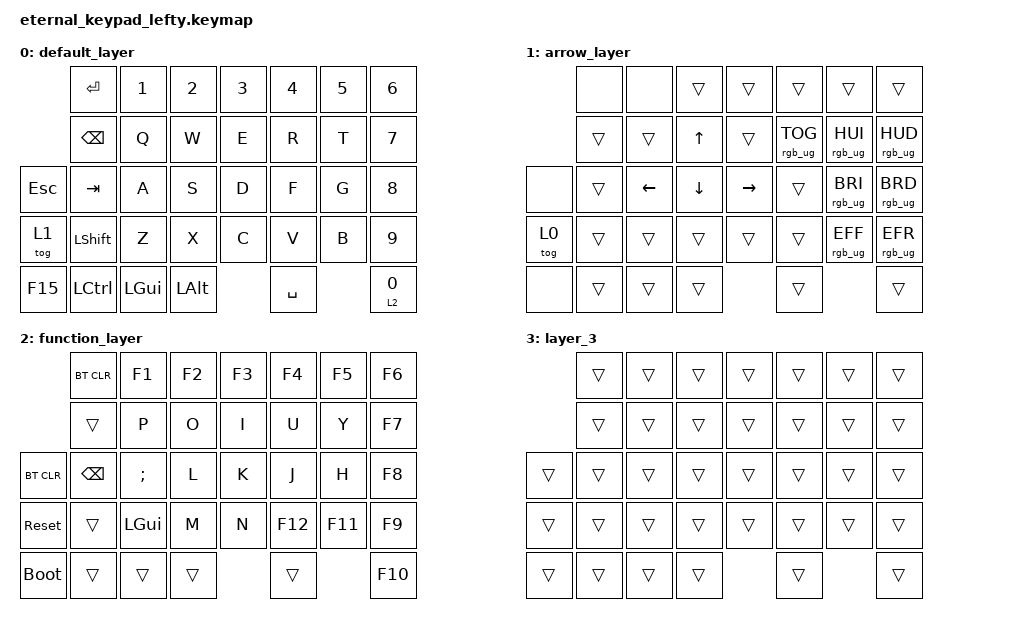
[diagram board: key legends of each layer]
/*
 * Copyright (c) 2022 The ZMK Contributors
 *
 * SPDX-License-Identifier: MIT
 */

#include <behaviors.dtsi>
#include <dt-bindings/zmk/bt.h>
#include <dt-bindings/zmk/keys.h>
#include <dt-bindings/zmk/rgb.h>

#define BASE        0
#define ARROW       1
#define FUNC        2

/ {
    chosen {
        zmk,kscan = &kscan0;
        zmk,matrix_transform = &default_transform;
    };

    keymap {
        compatible = "zmk,keymap";

        default_layer {
            bindings = <
         &kp RET           &kp N1        &kp N2    &kp N3  &kp N4     &kp N5  &kp N6
         &kp BACKSPACE     &kp Q         &kp W     &kp E   &kp R      &kp T   &kp N7
&kp ESC  &kp TAB           &kp A         &kp S     &kp D   &kp F      &kp G   &kp N8
&tog 1   &kp LSHFT         &kp Z         &kp X     &kp C   &kp V      &kp B   &kp N9
&kp F15  &kp LEFT_CONTROL  &kp LEFT_GUI  &kp LALT          &kp SPACE          &lt 2 N0
            >;
        };

        arrow_layer {
            bindings = <
        &none   &none     &trans    &trans     &trans           &trans           &trans
        &trans  &trans    &kp UP    &trans     &rgb_ug RGB_TOG  &rgb_ug RGB_HUI  &rgb_ug RGB_HUD
&none   &trans  &kp LEFT  &kp DOWN  &kp RIGHT  &trans           &rgb_ug RGB_BRI  &rgb_ug RGB_BRD
&tog 0  &trans  &trans    &trans    &trans     &trans           &rgb_ug RGB_EFF  &rgb_ug RGB_EFR
&none   &trans  &trans    &trans               &trans                            &trans
            >;
        };

        function_layer {
            bindings = <
             &bt BT_CLR  &kp F1    &kp F2  &kp F3  &kp F4   &kp F5   &kp F6
             &trans      &kp P     &kp O   &kp I   &kp U    &kp Y    &kp F7
&bt BT_CLR   &kp BSPC    &kp SEMI  &kp L   &kp K   &kp J    &kp H    &kp F8
&sys_reset   &trans      &kp LGUI  &kp M   &kp N   &kp F12  &kp F11  &kp F9
&bootloader  &trans      &trans    &trans          &trans            &kp F10
            >;
        };

        layer_3 {
            bindings = <
        &trans  &trans  &trans  &trans  &trans  &trans  &trans
        &trans  &trans  &trans  &trans  &trans  &trans  &trans
&trans  &trans  &trans  &trans  &trans  &trans  &trans  &trans
&trans  &trans  &trans  &trans  &trans  &trans  &trans  &trans
&trans  &trans  &trans  &trans          &trans          &trans
            >;
        };
    };
};
